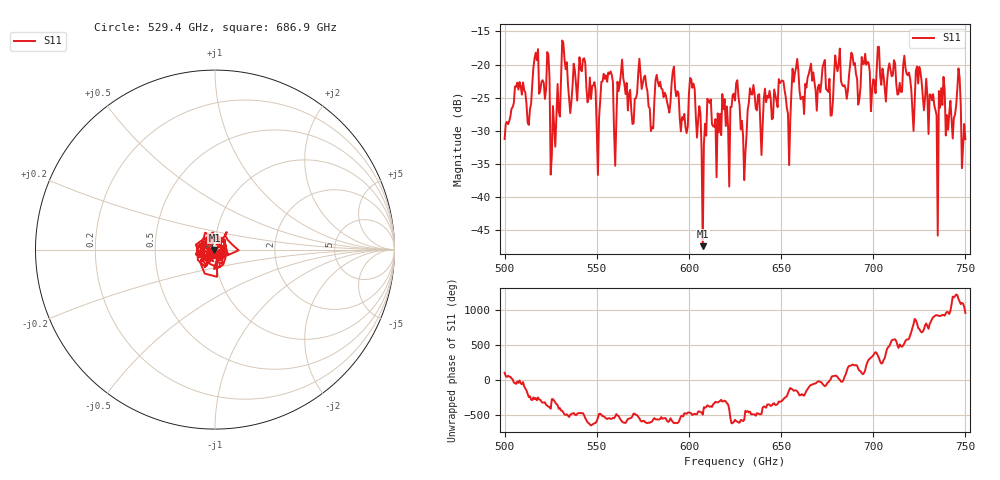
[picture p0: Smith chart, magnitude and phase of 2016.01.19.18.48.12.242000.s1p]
!Created with skrf (http://scikit-rf.org).
# GHz S RI R 50.0
!freq ReS11 ImS11
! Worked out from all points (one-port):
!   401 points, 500 GHz to 750 GHz, reference 50 ohm
!   lowest |S11| = -47.5 dB at 607.5 GHz (marker M1), VSWR 1.01, Z = 49.7 - j0.261 ohm
!   |S11| at or under -10 dB: start of sweep to end of sweep
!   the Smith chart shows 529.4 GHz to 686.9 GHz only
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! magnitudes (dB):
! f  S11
! 500 GHz  -31.3
! 506.9 GHz  -22.7
! 513.1 GHz  -29.1
! 516.9 GHz  -18.2
! 523.1 GHz  -18.1
! 526.2 GHz  -26.3
! 531.2 GHz  -16.4
! 542.5 GHz  -19.2
! 550.6 GHz  -36.7
! 556.2 GHz  -21.2
! 560.6 GHz  -28.6
! 562.5 GHz  -22.9
! 593.8 GHz  -24.0
! 598.1 GHz  -29.5
! 601.9 GHz  -23.5
! 607.5 GHz  -47.5
! 611.2 GHz  -25.8
! 621.2 GHz  -29.5
! 625 GHz  -25.5
! 630 GHz  -37.5
! 634.4 GHz  -24.6
! 653.8 GHz  -27.4
! 656.2 GHz  -20.6
! 687.5 GHz  -19.9
! 718.8 GHz  -21.6
! 733.8 GHz  -26.9
! 746.2 GHz  -20.6
! 750 GHz  -31.3
